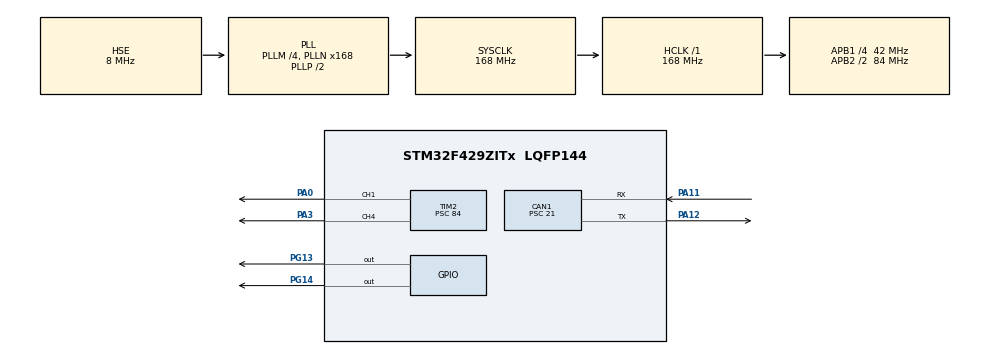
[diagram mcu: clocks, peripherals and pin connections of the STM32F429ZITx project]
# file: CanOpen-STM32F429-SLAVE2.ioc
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CAN1.BS1=CAN_BS1_14TQ
CAN1.BS2=CAN_BS2_5TQ
CAN1.CalculateBaudRate=100000
CAN1.CalculateTimeBit=10000
CAN1.CalculateTimeQuantum=500.0
CAN1.Prescaler=21
Mcu.Family=STM32F4
Mcu.Name=STM32F429ZITx
Mcu.Package=LQFP144
NVIC.CAN1_RX0_IRQn=true\:0\:0\:false\:false\:true\:true\:true\:true
NVIC.CAN1_RX1_IRQn=true\:0\:0\:false\:false\:true\:true\:true\:true
NVIC.CAN1_SCE_IRQn=true\:0\:0\:false\:false\:true\:true\:true\:true
NVIC.CAN1_TX_IRQn=true\:0\:0\:false\:false\:true\:true\:true\:true
NVIC.PriorityGroup=NVIC_PRIORITYGROUP_0
NVIC.TIM2_IRQn=true\:0\:0\:false\:false\:true\:true\:true\:true
NVIC.TIM8_TRG_COM_TIM14_IRQn=true\:0\:0\:false\:false\:true\:true\:true\:true
PA0/WKUP.Signal=S_TIM2_CH1_ETR
PA11.Mode=CAN_Activate
PA11.Signal=CAN1_RX
PA12.Mode=CAN_Activate
PA12.Signal=CAN1_TX
PA3.Signal=S_TIM2_CH4
PG13.Signal=GPIO_Output
PG14.Signal=GPIO_Output
PH0/OSC_IN.Mode=HSE-External-Oscillator
PH0/OSC_IN.Signal=RCC_OSC_IN
PH1/OSC_OUT.Mode=HSE-External-Oscillator
PH1/OSC_OUT.Signal=RCC_OSC_OUT
ProjectManager.HeapSize=0x200
ProjectManager.StackSize=0x400
ProjectManager.TargetToolchain=STM32CubeIDE
RCC.48MHZClocksFreq_Value=48000000
RCC.AHBFreq_Value=168000000
RCC.APB1CLKDivider=RCC_HCLK_DIV4
RCC.APB1Freq_Value=42000000
RCC.APB1TimFreq_Value=84000000
RCC.APB2CLKDivider=RCC_HCLK_DIV2
RCC.APB2Freq_Value=84000000
RCC.APB2TimFreq_Value=168000000
RCC.CortexFreq_Value=168000000
RCC.HCLKFreq_Value=168000000
RCC.HSE_VALUE=8000000
RCC.HSI_VALUE=16000000
RCC.LSE_VALUE=32768
RCC.PLLM=4
RCC.PLLN=168
RCC.PLLQ=7
RCC.PLLSourceVirtual=RCC_PLLSOURCE_HSE
RCC.SYSCLKFreq_VALUE=168000000
RCC.SYSCLKSource=RCC_SYSCLKSOURCE_PLLCLK
RCC.VCOOutputFreq_Value=336000000
SH.S_TIM2_CH1_ETR.0=TIM2_CH1,PWM Generation1 CH1
SH.S_TIM2_CH4.0=TIM2_CH4,PWM Generation4 CH4
TIM14.Period=1000
TIM14.Prescaler=83
TIM2.AutoReloadPreload=TIM_AUTORELOAD_PRELOAD_ENABLE
TIM2.Channel-PWM\ Generation1\ CH1=TIM_CHANNEL_1
TIM2.Channel-PWM\ Generation4\ CH4=TIM_CHANNEL_4
TIM2.CounterMode=TIM_COUNTERMODE_DOWN
TIM2.Period=20000
TIM2.Prescaler=84
VP_TIM14_VS_ClockSourceINT.Mode=Enable_Timer
VP_TIM2_VS_ClockSourceINT.Mode=Internal
board=STM32F429I-DISC1

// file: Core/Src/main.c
/* USER CODE BEGIN Header */
/**
  ******************************************************************************
  * @file           : main.c
  * @brief          : Main program body
  ******************************************************************************
  * @attention
  *
  * Copyright (c) 2025 STMicroelectronics.
  * All rights reserved.
  *
  * This software is licensed under terms that can be found in the LICENSE file
  * in the root directory of this software component.
  * If no LICENSE file comes with this software, it is provided AS-IS.
  *
  ******************************************************************************
  */
/* USER CODE END Header */
#include "main.h"

/* USER CODE BEGIN Includes */
#include "CO_app_STM32.h"
#include "CANopen.h"
#include "OD.h"
#include <stdlib.h>
/* USER CODE END Includes */

/* USER CODE BEGIN PD */
#define log_printf(macropar_message, ...) printf(macropar_message, ##__VA_ARGS__)

#define CANOPEN_ID 3
/* USER CODE END PD */

CAN_HandleTypeDef hcan1;

TIM_HandleTypeDef htim2;
TIM_HandleTypeDef htim14;

/* USER CODE BEGIN PV */
uint32_t adcValue;
float test;
volatile int currentPulse = 1000;
volatile int targetPulse = 2000;
volatile int stepSize = 0;
volatile int stepInterval = 1;
volatile int stepDirection = 1;
volatile int currentPulseNeg = 2000;
volatile int targetPulseNeg = 1000;
uint8_t restStep = 0;
/* USER CODE END PV */

void SystemClock_Config(void);
static void MX_GPIO_Init(void);
static void MX_CAN1_Init(void);
static void MX_TIM14_Init(void);
static void MX_TIM2_Init(void);

/* USER CODE BEGIN 0 */
void
HAL_TIM_PeriodElapsedCallback(TIM_HandleTypeDef* htim) {
    if (htim == canopenNodeSTM32->timerHandle) {
        canopen_app_interrupt();
    }

    if (htim->Instance == TIM2) {
        static uint16_t interruptCounter = 0;
        static uint16_t restPulse = 1000;

        interruptCounter++;

        if (stepSize == 0) {
            if (currentPulse < restPulse) {
                currentPulse += restStep;
                if (currentPulse > restPulse) currentPulse = restPulse;
            } else if (currentPulse > restPulse) {
                currentPulse -= restStep;
                if (currentPulse < restPulse) currentPulse = restPulse;
            }

            currentPulseNeg = 3000 - currentPulse;

            __HAL_TIM_SET_COMPARE(&htim2, TIM_CHANNEL_1, currentPulseNeg);
            __HAL_TIM_SET_COMPARE(&htim2, TIM_CHANNEL_4, currentPulse);

            return;
        }

        if (interruptCounter >= stepInterval) {
            interruptCounter = 0;

            if (currentPulse != targetPulse) {

                if (abs(targetPulse - currentPulse) <= stepSize) {
                    currentPulse = targetPulse;
                } else {
                    currentPulse += stepDirection * stepSize;
                }

                if (currentPulse > 2000) currentPulse = 2000;
                if (currentPulse < 1000) currentPulse = 1000;

                currentPulseNeg = 3000 - currentPulse;

                __HAL_TIM_SET_COMPARE(&htim2, TIM_CHANNEL_1, currentPulseNeg);
                __HAL_TIM_SET_COMPARE(&htim2, TIM_CHANNEL_4, currentPulse);
            } else {
                if (targetPulse == 2000) {
                    targetPulse = 1000;
                } else {
                    targetPulse = 2000;
                }
                stepDirection = (targetPulse > currentPulse) ? 1 : -1;
            }
        }
        restStep = stepSize;
    }
}
/* USER CODE END 0 */

int main(void)
{

  /* MCU Configuration--------------------------------------------------------*/

  /* Reset of all peripherals, Initializes the Flash interface and the Systick. */
  HAL_Init();

  /* Configure the system clock */
  SystemClock_Config();

  /* Initialize all configured peripherals */
  MX_GPIO_Init();
  MX_CAN1_Init();
  MX_TIM14_Init();
  MX_TIM2_Init();
  /* USER CODE BEGIN 2 */
  HAL_TIM_PWM_Start(&htim2, TIM_CHANNEL_1);
  HAL_TIM_PWM_Start(&htim2, TIM_CHANNEL_4);
  HAL_TIM_Base_Start_IT(&htim2);
  CANopenNodeSTM32 canOpenNodeSTM32;
  canOpenNodeSTM32.CANHandle = &hcan1;
  canOpenNodeSTM32.HWInitFunction = MX_CAN1_Init;
  canOpenNodeSTM32.timerHandle = &htim14;
  canOpenNodeSTM32.desiredNodeID = CANOPEN_ID;
  canOpenNodeSTM32.baudrate = 100;
  canopen_app_init(&canOpenNodeSTM32);
  /* USER CODE END 2 */

  /* Infinite loop */
  /* USER CODE BEGIN WHILE */
  while (1)
  {
	  HAL_GPIO_WritePin(GPIOG, GPIO_PIN_14, !canOpenNodeSTM32.outStatusLEDGreen);
	  HAL_GPIO_WritePin(GPIOG, GPIO_PIN_13, !canOpenNodeSTM32.outStatusLEDRed);
	  canopen_app_process();
	  if (stepSize != OD_PERSIST_COMM.x6001_WIPER_SPEED_r) {
		  stepSize = OD_PERSIST_COMM.x6001_WIPER_SPEED_r;
	  }
    /* USER CODE END WHILE */

  }
}

void SystemClock_Config(void)
{
  RCC_OscInitTypeDef RCC_OscInitStruct = {0};
  RCC_ClkInitTypeDef RCC_ClkInitStruct = {0};

  /** Configure the main internal regulator output voltage
  */
  __HAL_RCC_PWR_CLK_ENABLE();
  __HAL_PWR_VOLTAGESCALING_CONFIG(PWR_REGULATOR_VOLTAGE_SCALE1);

  /** Initializes the RCC Oscillators according to the specified parameters
  * in the RCC_OscInitTypeDef structure.
  */
  RCC_OscInitStruct.OscillatorType = RCC_OSCILLATORTYPE_HSE;
  RCC_OscInitStruct.HSEState = RCC_HSE_ON;
  RCC_OscInitStruct.PLL.PLLState = RCC_PLL_ON;
  RCC_OscInitStruct.PLL.PLLSource = RCC_PLLSOURCE_HSE;
  RCC_OscInitStruct.PLL.PLLM = 4;
  RCC_OscInitStruct.PLL.PLLN = 168;
  RCC_OscInitStruct.PLL.PLLP = RCC_PLLP_DIV2;
  RCC_OscInitStruct.PLL.PLLQ = 7;
  if (HAL_RCC_OscConfig(&RCC_OscInitStruct) != HAL_OK)
  {
    Error_Handler();
  }

  /** Initializes the CPU, AHB and APB buses clocks
  */
  RCC_ClkInitStruct.ClockType = RCC_CLOCKTYPE_HCLK|RCC_CLOCKTYPE_SYSCLK
                              |RCC_CLOCKTYPE_PCLK1|RCC_CLOCKTYPE_PCLK2;
  RCC_ClkInitStruct.SYSCLKSource = RCC_SYSCLKSOURCE_PLLCLK;
  RCC_ClkInitStruct.AHBCLKDivider = RCC_SYSCLK_DIV1;
  RCC_ClkInitStruct.APB1CLKDivider = RCC_HCLK_DIV4;
  RCC_ClkInitStruct.APB2CLKDivider = RCC_HCLK_DIV2;

  if (HAL_RCC_ClockConfig(&RCC_ClkInitStruct, FLASH_LATENCY_5) != HAL_OK)
  {
    Error_Handler();
  }
}

static void MX_CAN1_Init(void)
{

  hcan1.Instance = CAN1;
  hcan1.Init.Prescaler = 21;
  hcan1.Init.Mode = CAN_MODE_NORMAL;
  hcan1.Init.SyncJumpWidth = CAN_SJW_1TQ;
  hcan1.Init.TimeSeg1 = CAN_BS1_14TQ;
  hcan1.Init.TimeSeg2 = CAN_BS2_5TQ;
  hcan1.Init.TimeTriggeredMode = DISABLE;
  hcan1.Init.AutoBusOff = DISABLE;
  hcan1.Init.AutoWakeUp = DISABLE;
  hcan1.Init.AutoRetransmission = DISABLE;
  hcan1.Init.ReceiveFifoLocked = DISABLE;
  hcan1.Init.TransmitFifoPriority = DISABLE;
  if (HAL_CAN_Init(&hcan1) != HAL_OK)
  {
    Error_Handler();
  }

}

static void MX_TIM2_Init(void)
{

  TIM_ClockConfigTypeDef sClockSourceConfig = {0};
  TIM_MasterConfigTypeDef sMasterConfig = {0};
  TIM_OC_InitTypeDef sConfigOC = {0};

  htim2.Instance = TIM2;
  htim2.Init.Prescaler = 84;
  htim2.Init.CounterMode = TIM_COUNTERMODE_DOWN;
  htim2.Init.Period = 20000;
  htim2.Init.ClockDivision = TIM_CLOCKDIVISION_DIV1;
  htim2.Init.AutoReloadPreload = TIM_AUTORELOAD_PRELOAD_ENABLE;
  if (HAL_TIM_Base_Init(&htim2) != HAL_OK)
  {
    Error_Handler();
  }
  sClockSourceConfig.ClockSource = TIM_CLOCKSOURCE_INTERNAL;
  if (HAL_TIM_ConfigClockSource(&htim2, &sClockSourceConfig) != HAL_OK)
  {
    Error_Handler();
  }
  if (HAL_TIM_PWM_Init(&htim2) != HAL_OK)
  {
    Error_Handler();
  }
  sMasterConfig.MasterOutputTrigger = TIM_TRGO_RESET;
  sMasterConfig.MasterSlaveMode = TIM_MASTERSLAVEMODE_DISABLE;
  if (HAL_TIMEx_MasterConfigSynchronization(&htim2, &sMasterConfig) != HAL_OK)
  {
    Error_Handler();
  }
  sConfigOC.OCMode = TIM_OCMODE_PWM1;
  sConfigOC.Pulse = 0;
  sConfigOC.OCPolarity = TIM_OCPOLARITY_HIGH;
  sConfigOC.OCFastMode = TIM_OCFAST_DISABLE;
  if (HAL_TIM_PWM_ConfigChannel(&htim2, &sConfigOC, TIM_CHANNEL_1) != HAL_OK)
  {
    Error_Handler();
  }
  if (HAL_TIM_PWM_ConfigChannel(&htim2, &sConfigOC, TIM_CHANNEL_4) != HAL_OK)
  {
    Error_Handler();
  }
  HAL_TIM_MspPostInit(&htim2);

}

static void MX_TIM14_Init(void)
{

  htim14.Instance = TIM14;
  htim14.Init.Prescaler = 83;
  htim14.Init.CounterMode = TIM_COUNTERMODE_UP;
  htim14.Init.Period = 1000;
  htim14.Init.ClockDivision = TIM_CLOCKDIVISION_DIV1;
  htim14.Init.AutoReloadPreload = TIM_AUTORELOAD_PRELOAD_DISABLE;
  if (HAL_TIM_Base_Init(&htim14) != HAL_OK)
  {
    Error_Handler();
  }

}

static void MX_GPIO_Init(void)
{
  GPIO_InitTypeDef GPIO_InitStruct = {0};

  /* GPIO Ports Clock Enable */
  __HAL_RCC_GPIOH_CLK_ENABLE();
  __HAL_RCC_GPIOA_CLK_ENABLE();
  __HAL_RCC_GPIOG_CLK_ENABLE();

  /*Configure GPIO pin Output Level */
  HAL_GPIO_WritePin(GPIOG, GPIO_PIN_13|GPIO_PIN_14, GPIO_PIN_RESET);

  /*Configure GPIO pins : PG13 PG14 */
  GPIO_InitStruct.Pin = GPIO_PIN_13|GPIO_PIN_14;
  GPIO_InitStruct.Mode = GPIO_MODE_OUTPUT_PP;
  GPIO_InitStruct.Pull = GPIO_NOPULL;
  GPIO_InitStruct.Speed = GPIO_SPEED_FREQ_LOW;
  HAL_GPIO_Init(GPIOG, &GPIO_InitStruct);

}

/* USER CODE BEGIN 4 */

__STATIC_INLINE uint32_t My_ITM_SendChar (uint32_t ch)
{
  if (((ITM->TCR & ITM_TCR_ITMENA_Msk) != 0UL) &&      /* ITM enabled */
      ((ITM->TER & 1UL               ) != 0UL)   )     /* ITM Port #0 enabled */
  {
    while (ITM->PORT[ITM_CHANNEL].u32 == 0UL)
    {
      __NOP();
    }
    ITM->PORT[ITM_CHANNEL].u8 = (uint8_t)ch;
  }
  return (ch);
}

int _write(int file, char *ptr, int len) {
	int i;
	for(i = 0; i < len; i++) {
		My_ITM_SendChar(*ptr++);
	}
	return len;
}
/* USER CODE END 4 */

void Error_Handler(void)
{
  __disable_irq();
  while (1)
  {
  }
}
